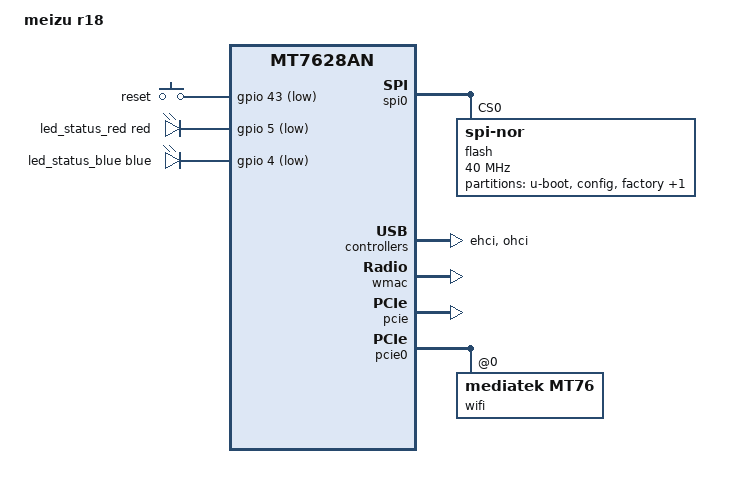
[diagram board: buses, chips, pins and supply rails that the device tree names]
#include "mt7628an.dtsi"

#include <dt-bindings/gpio/gpio.h>
#include <dt-bindings/input/input.h>
#include <dt-bindings/leds/common.h>

/ {
	compatible = "meizu,r18", "mediatek,mt7628an-soc";
	model = "meizu r18";

	aliases {
		led-boot = &led_status_blue;
		led-running = &led_status_blue;
		led-failsafe = &led_status_red;
		led-upgrade = &led_status_red;
		label-mac-device = &ethernet;
	};

	chosen {
		bootargs = "console=ttyS0,115200";
	};

	keys {
		compatible = "gpio-keys";

		reset {
			label = "reset";
			linux,code = <KEY_RESTART>;
			gpios = <&gpio 43 GPIO_ACTIVE_LOW>;
		};
	};

	leds {
		compatible = "gpio-leds";

		led_status_red: status_red {
			function = LED_FUNCTION_POWER;
			color = <LED_COLOR_ID_RED>;
			gpios = <&gpio 5 GPIO_ACTIVE_LOW>;
		};

		led_status_blue: status_blue {
			function = LED_FUNCTION_STATUS;
			color = <LED_COLOR_ID_BLUE>;
			gpios = <&gpio 4 GPIO_ACTIVE_LOW>;
		};
	};
};

&spi0 {
    status = "okay";

    flash@0 {
        compatible = "jedec,spi-nor";
        reg = <0>;
        spi-max-frequency = <40000000>;

        partitions {
            compatible = "fixed-partitions";
            #address-cells = <1>;
            #size-cells = <1>;

            partition@0 {
                label = "u-boot";
                reg = <0x000000 0x030000>;  // 192KB
                read-only;
            };

            partition@30000 {
                label = "config";
                reg = <0x030000 0x010000>;  // 64KB
                read-only;
            };

            partition@40000 {
				label = "factory";
				reg = <0x40000 0x10000>;
				read-only;

				nvmem-layout {
					compatible = "fixed-layout";
					#address-cells = <1>;
					#size-cells = <1>;

					eeprom_factory_0: eeprom@0 {
						reg = <0x0 0x400>;
					};

					eeprom_factory_8000: eeprom@8000 {
						reg = <0x8000 0x200>;
					};

					macaddr_factory_e000: macaddr@e000 {
						reg = <0xe000 0x6>;
					};
				};
			};

            partition@50000 {
                compatible = "openwrt,uimage", "denx,uimage";
                label = "firmware";
                reg = <0x050000 0xfb0000>;  // 15.625MB
            };
        };
    };
};

&ehci {
	status = "okay";
};

&ohci {
	status = "okay";
};

&ethernet {
	nvmem-cells = <&macaddr_factory_e000>;
	nvmem-cell-names = "mac-address";
    mediatek,portmap = "wlll";
};

&wmac {
	status = "okay";
	nvmem-cells = <&eeprom_factory_0>;
	nvmem-cell-names = "eeprom";
};

&pcie {
	status = "okay";
};

&pcie0 {
	wifi@0,0 {
        compatible = "mediatek,mt76";
		reg = <0x0000 0 0 0 0>;
		nvmem-cells = <&eeprom_factory_8000>;
		nvmem-cell-names = "eeprom";
		ieee80211-freq-limit = <5000000 6000000>;
	};
};
